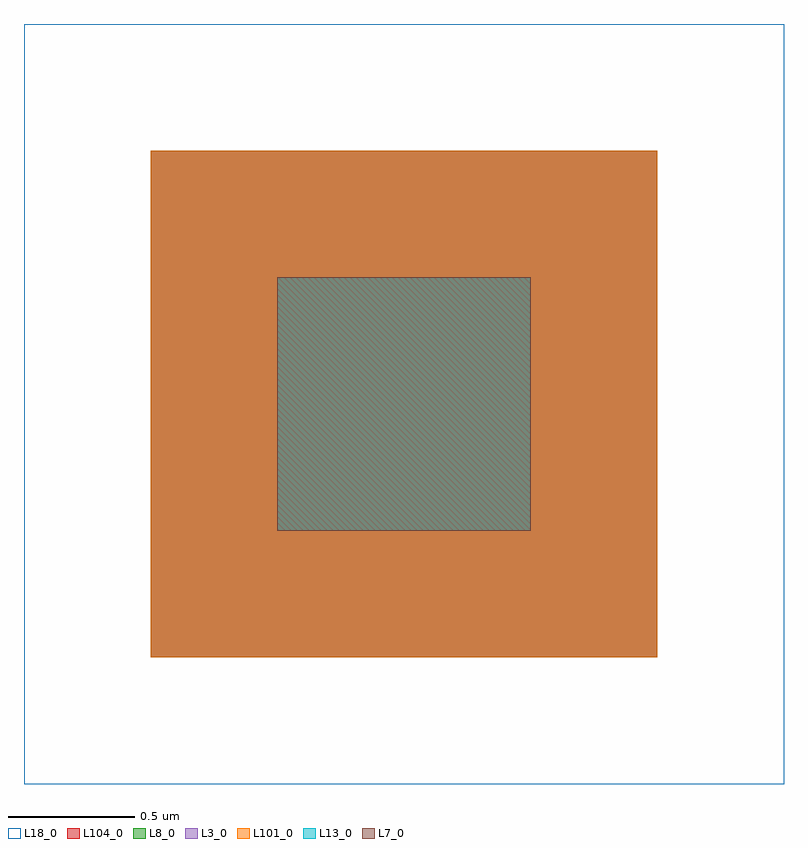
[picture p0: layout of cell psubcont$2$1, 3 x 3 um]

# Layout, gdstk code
import gdstk
lib = gdstk.Library(unit=1e-6, precision=1e-07)
def R(c, l, rs):  # rectangles x0, y0, x1, y1
    for r in rs: c.add(gdstk.rectangle(r[:2], r[2:], *l))
L3_0 = (3, 0)
L7_0 = (7, 0)
L8_0 = (8, 0)
L13_0 = (13, 0)
L18_0 = (18, 0)
L101_0 = (101, 0)
L104_0 = (104, 0)

dcont1_1_10 = lib.new_cell('dcont1$1$10')
R(dcont1_1_10, L3_0, [(-1,-1,1,1)])
R(dcont1_1_10, L7_0, [(-0.5,-0.5,0.5,0.5)])
R(dcont1_1_10, L8_0, [(-1,-1,1,1)])
R(dcont1_1_10, L13_0, [(-0.5,-0.5,0.5,0.5)])
R(dcont1_1_10, L101_0, [(-1,-1,1,1)])

psubcont_2_1 = lib.new_cell('psubcont$2$1')
R(psubcont_2_1, L18_0, [(-1.5,-1.5,1.5,1.5)])
R(psubcont_2_1, L104_0, [(-1,-1,1,1)])
psubcont_2_1.add(gdstk.Reference(dcont1_1_10, (0,0)))

lib.write_gds('psubcont_2_1.gds')
